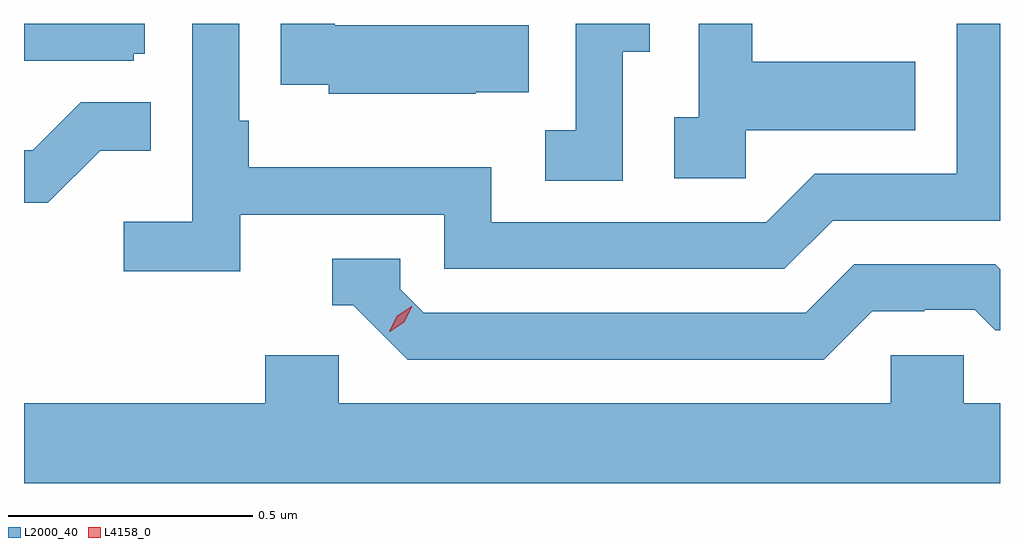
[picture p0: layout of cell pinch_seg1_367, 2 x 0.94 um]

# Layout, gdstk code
import gdstk
lib = gdstk.Library(unit=1e-6, precision=1e-09)
def P(c, l, *ps):  # polygons
    for p in ps: c.add(gdstk.Polygon(p, *l))
L2000_40 = (2000, 40)
L4158_0 = (4158, 0)

pinch_seg1_367 = lib.new_cell('pinch_seg1_367')
P(pinch_seg1_367, L2000_40, [(972.929,547.205),(973.037,547.205),(973.037,547.342),(972.64,547.342),(972.64,547.345),(972.529,547.345),(972.529,547.22),(972.627,547.22),(972.627,547.202),(972.929,547.202)],
  [(972.228,547.284),(972.25,547.284),(972.25,547.345),(972.003,547.345),(972.003,547.269),(972.228,547.269)],
  [(972.446,546.954),(972.864,546.954),(972.864,546.843),(973.561,546.843),(973.66,546.942),(974.003,546.942),(974.003,547.345),(973.914,547.345),(973.914,547.038),(973.623,547.038),(973.524,546.939),(972.96,546.939),(972.96,547.051),(972.464,547.051),(972.464,547.147),(972.444,547.147),(972.444,547.345),(972.348,547.345),(972.348,546.94),(972.207,546.94),(972.207,546.838),(972.446,546.838)],
  [(973.482,547.127),(973.829,547.127),(973.829,547.267),(973.495,547.267),(973.495,547.345),(973.386,547.345),(973.386,547.154),(973.335,547.154),(973.335,547.029),(973.482,547.029)],
  [(973.23,547.288),(973.285,547.288),(973.285,547.345),(973.134,547.345),(973.134,547.127),(973.071,547.127),(973.071,547.024),(973.23,547.024)],
  [(972.159,547.085),(972.263,547.085),(972.263,547.184),(972.119,547.184),(972.021,547.086),(972.003,547.086),(972.003,546.978),(972.052,546.978)],
  [(973.741,546.756),(973.848,546.756),(973.848,546.759),(973.951,546.759),(973.993,546.717),(974.003,546.717),(974.003,546.842),(973.993,546.852),(973.704,546.852),(973.605,546.753),(972.822,546.753),(972.774,546.801),(972.774,546.864),(972.635,546.864),(972.635,546.768),(972.678,546.768),(972.789,546.657),(973.642,546.657)],
  [(974.003,546.568),(973.929,546.568),(973.929,546.666),(973.779,546.666),(973.779,546.568),(972.648,546.568),(972.648,546.666),(972.497,546.666),(972.497,546.568),(972.003,546.568),(972.003,546.404),(974.003,546.404)])
P(pinch_seg1_367, L4158_0, [(972.751,546.714),(972.751,546.715),(972.768,546.747),(972.798,546.766),(972.799,546.766),(972.799,546.766),(972.782,546.734),(972.752,546.714)])

lib.write_gds('pinch_seg1_367.gds')
